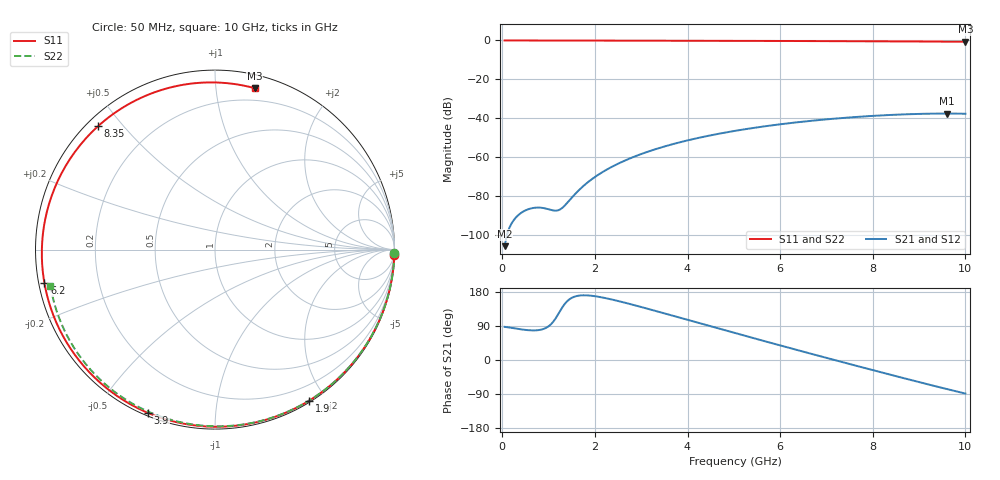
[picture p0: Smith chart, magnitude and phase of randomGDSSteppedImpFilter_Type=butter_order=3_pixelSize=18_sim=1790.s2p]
! freq	dB(S11)	phase(S11)	dB(S12)	phase(S12)
!  dB(S21)	phase(S21)	dB(S22)	phase(S22)
!S-par simulation data
#  GHz  S  DB  R 50
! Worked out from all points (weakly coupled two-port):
!   200 points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, 50 MHz to 10 GHz, reference 50 ohm
!   highest |S21| = -37.63 dB at 9.6 GHz (marker M1); lowest = -105.9 dB at 50 MHz (marker M2)
!   lowest |S11| = -0.7 dB at 10 GHz (marker M3), VSWR 26.08, Z = 5.03 + j63.6 ohm
!   |S11| at or under -10 dB: nowhere
!   |S22| runs from -0.6 to 0.0 dB; largest |S21 - S12| = 0
!   S11 on the Smith chart (normalised r, x): 50 MHz: 1, -71; 1.9 GHz: 0.02, -1.80; 3.9 GHz: 0.01, -0.67; 6.2 GHz: 0.02, -0.10; 8.35 GHz: 0.03, +0.43; 10 GHz: 0.10, +1.27
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0.05  -0.00 -1.6  -105.91 87.5  -105.91 87.5  -0.00 -1.0
0.75  -0.03 -23.5  -86.05 78.5  -86.05 78.5  -0.02 -14.6
1.5  -0.06 -46.3  -80.96 164.1  -80.96 164.1  -0.04 -28.9
1.55  -0.06 -47.8  -79.63 166.8  -79.63 166.8  -0.04 -29.8
1.75  -0.07 -53.7  -74.95 170.8  -74.95 170.8  -0.04 -33.6
1.9  -0.07 -58.0  -72.03 169.9  -72.03 169.9  -0.05 -36.4
2.2  -0.08 -66.7  -67.26 164.0  -67.26 164.0  -0.05 -41.9
2.55  -0.09 -76.5  -62.89 154.2  -62.89 154.2  -0.06 -48.4
2.95  -0.11 -87.4  -58.91 141.5  -58.91 141.5  -0.07 -55.6
3.4  -0.13 -99.4  -55.30 126.5  -55.30 126.5  -0.08 -63.5
3.9  -0.15 -112.2  -52.03 109.4  -52.03 109.4  -0.10 -72.2
4.45  -0.17 -126.0  -49.09 90.6  -49.09 90.6  -0.12 -81.5
5.05  -0.20 -140.7  -46.44 70.3  -46.44 70.3  -0.14 -91.3
5.65  -0.24 -155.3  -44.26 50.1  -44.26 50.1  -0.17 -100.9
6.2  -0.28 -168.8  -42.59 31.9  -42.59 31.9  -0.20 -109.5
6.7  -0.32 178.7  -41.30 15.4  -41.30 15.4  -0.23 -117.2
7.15  -0.36 167.1  -40.31 0.7  -40.31 0.7  -0.26 -124.1
7.55  -0.39 156.4  -39.55 -12.2  -39.55 -12.2  -0.29 -130.1
8.35  -0.47 133.4  -38.39 -37.9  -38.39 -37.9  -0.36 -142.2
9  -0.54 112.8  -37.81 -58.3  -37.81 -58.3  -0.43 -152.0
9.6  -0.61 91.6  -37.63 -76.7  -37.63 -76.7  -0.50 -161.3
10  -0.67 76.2  -37.74 -88.6  -37.74 -88.6  -0.55 -167.6
